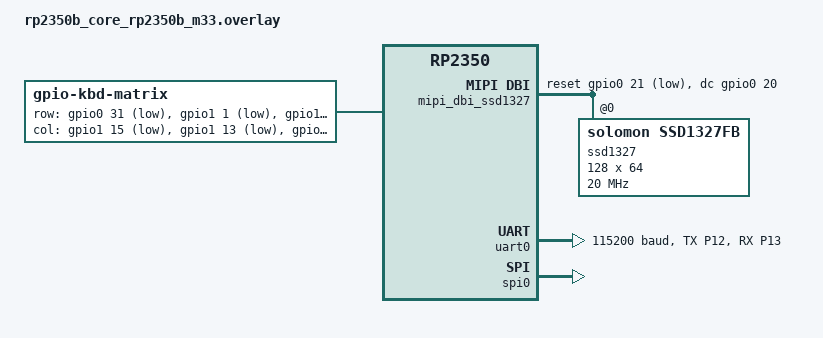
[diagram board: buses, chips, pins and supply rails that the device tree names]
/*
 * Copyright (c) 2026 MASSDRIVER EI (massdriver.space)
 *
 * SPDX-License-Identifier: Apache-2.0
 */

#include <zephyr/dt-bindings/input/keymap.h>
#include <zephyr/dt-bindings/input/input-event-codes.h>
#include <zephyr/dt-bindings/spi/spi.h>
#include <zephyr/dt-bindings/gpio/gpio.h>
#include "rp2350_overclock.dtsi"

/delete-node/ &zephyr_udc0;

// &usbd {
// 	status = "disabled";
// };

/ {
	chosen {
		zephyr,console = &uart0;
		zephyr,shell-uart = &uart0;
		zephyr,uart-mcumgr = &uart0;
		zephyr,bt-mon-uart = &uart0;
		zephyr,bt-c2h-uart = &uart0;
	};
};

&pinctrl {
	uart0_default: uart0_default {
		group1 {
			pinmux = <UART0_TX_P12>;
		};

		group2 {
			pinmux = <UART0_RX_P13>;
			input-enable;
		};
	};
};

&uart0 {
	current-speed = <115200>;
	status = "okay";
	pinctrl-0 = <&uart0_default>;
	pinctrl-names = "default";
};

/ {
	chosen {
		zephyr,display = &ssd1327;
	};

};

/ {

	mipi_dbi_ssd1327 {
		compatible = "zephyr,mipi-dbi-spi";
		spi-dev = <&spi0>;
		dc-gpios = <&gpio0 20 GPIO_ACTIVE_HIGH>;
		reset-gpios = <&gpio0 21 GPIO_ACTIVE_LOW>;
		write-only;
		#address-cells = <1>;
		#size-cells = <0>;

		ssd1327: ssd1327@0 {
			compatible = "solomon,ssd1327fb";
			mipi-max-frequency = <20000000>;
			reg = <0>;
			width = <128>;
			height = <64>;
			prechargep = <0x5>;
			precharge-voltage = <0x7>;
			remap-value = <0x53>;
			oscillator-freq = <0xA1>;
			display-offset = <0x40>;
			start-line = <0>;
			multiplex-ratio = <0x3f>;
			phase-length = <0x29>;
			mipi-mode = "MIPI_DBI_MODE_SPI_4WIRE";
			grayscale-table = [04 06 08 0A 0C 0D 10 12 14 16 18 1C 20 24 3C];
		};
	};
};

&spi0 {
	status = "okay";
};


&i2c0 {
	status = "disabled";
};

&i2c1 {
	status = "disabled";
};

/ {
	kbd-matrix {
		compatible = "gpio-kbd-matrix";
		row-gpios = <&gpio0 31 (GPIO_PULL_UP | GPIO_ACTIVE_LOW)>,
					<&gpio1 1 (GPIO_PULL_UP | GPIO_ACTIVE_LOW)>,
					<&gpio1 3 (GPIO_PULL_UP | GPIO_ACTIVE_LOW)>,
					<&gpio1 5 (GPIO_PULL_UP | GPIO_ACTIVE_LOW)>,
					<&gpio1 7 (GPIO_PULL_UP | GPIO_ACTIVE_LOW)>;
		col-gpios = <&gpio1 15 GPIO_ACTIVE_LOW>,
					<&gpio1 13 GPIO_ACTIVE_LOW>,
					<&gpio1 11 GPIO_ACTIVE_LOW>,
					<&gpio1 9 GPIO_ACTIVE_LOW>;
		keymap {
			compatible = "input-keymap";
			keymap = <
				MATRIX_KEY(3, 1, INPUT_KEY_W)
				MATRIX_KEY(4, 1, INPUT_KEY_S)
				MATRIX_KEY(4, 0, INPUT_KEY_A)
				MATRIX_KEY(4, 2, INPUT_KEY_D)
				MATRIX_KEY(3, 0, INPUT_KEY_LEFT)
				MATRIX_KEY(3, 2, INPUT_KEY_RIGHT)
				MATRIX_KEY(1, 3, INPUT_KEY_UP)
				MATRIX_KEY(2, 3, INPUT_KEY_DOWN)
				MATRIX_KEY(3, 3, INPUT_KEY_LEFTSHIFT)
				MATRIX_KEY(4, 3, INPUT_KEY_SPACE)
			>;
			row-size = <5>;
			col-size = <4>;
		};
	};
};
